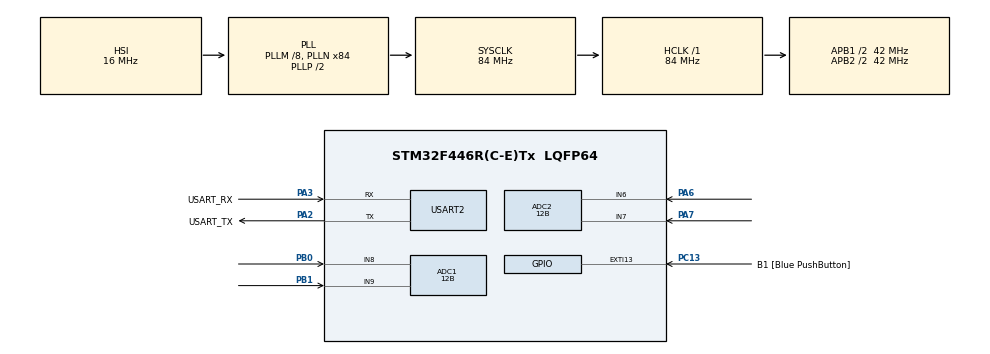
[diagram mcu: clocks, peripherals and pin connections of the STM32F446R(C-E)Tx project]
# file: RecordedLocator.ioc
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ADC1.Channel-2\#ChannelRegularConversion=ADC_CHANNEL_8
ADC1.Channel-3\#ChannelRegularConversion=ADC_CHANNEL_9
ADC1.ContinuousConvMode=ENABLE
ADC1.DMAContinuousRequests=ENABLE
ADC1.DiscontinuousConvMode=DISABLE
ADC1.EOCSelection=ADC_EOC_SINGLE_CONV
ADC1.EnableAnalogWatchDog=false
ADC1.Mode=ADC_DUALMODE_REGSIMULT
ADC1.NbrOfConversion=2
ADC1.NbrOfConversionFlag=1
ADC1.Rank-2\#ChannelRegularConversion=1
ADC1.Rank-3\#ChannelRegularConversion=2
ADC1.Resolution=ADC_RESOLUTION_12B
ADC1.SamplingTime-2\#ChannelRegularConversion=ADC_SAMPLETIME_56CYCLES
ADC1.SamplingTime-3\#ChannelRegularConversion=ADC_SAMPLETIME_56CYCLES
ADC1.ScanConvMode=ENABLE
ADC1.master=1
ADC2.Channel-0\#ChannelRegularConversion=ADC_CHANNEL_6
ADC2.Channel-1\#ChannelRegularConversion=ADC_CHANNEL_7
ADC2.ClockPrescaler=ADC_CLOCK_SYNC_PCLK_DIV2
ADC2.ContinuousConvMode=ENABLE
ADC2.DMAAccessMode=ADC_DMAACCESSMODE_2
ADC2.DiscontinuousConvMode=DISABLE
ADC2.Mode=ADC_DUALMODE_REGSIMULT
ADC2.NbrOfConversion=2
ADC2.NbrOfConversionFlag=1
ADC2.Rank-0\#ChannelRegularConversion=1
ADC2.Rank-1\#ChannelRegularConversion=2
ADC2.Resolution=ADC_RESOLUTION_12B
ADC2.SamplingTime-0\#ChannelRegularConversion=ADC_SAMPLETIME_56CYCLES
ADC2.SamplingTime-1\#ChannelRegularConversion=ADC_SAMPLETIME_56CYCLES
Dma.ADC1.0.Direction=DMA_PERIPH_TO_MEMORY
Dma.ADC1.0.FIFOMode=DMA_FIFOMODE_DISABLE
Dma.ADC1.0.Instance=DMA2_Stream0
Dma.ADC1.0.MemDataAlignment=DMA_MDATAALIGN_WORD
Dma.ADC1.0.MemInc=DMA_MINC_ENABLE
Dma.ADC1.0.Mode=DMA_CIRCULAR
Dma.ADC1.0.PeriphDataAlignment=DMA_PDATAALIGN_WORD
Dma.ADC1.0.PeriphInc=DMA_PINC_DISABLE
Dma.ADC1.0.Priority=DMA_PRIORITY_LOW
Dma.Request0=ADC1
Mcu.Family=STM32F4
Mcu.Name=STM32F446R(C-E)Tx
Mcu.Package=LQFP64
NVIC.DMA2_Stream0_IRQn=true\:0\:0\:false\:false\:true\:false\:true
NVIC.PriorityGroup=NVIC_PRIORITYGROUP_0
NVIC.USART2_IRQn=true\:0\:0\:false\:false\:true\:true\:true
PA13.GPIO_Label=TMS
PA13.Mode=Serial_Wire
PA13.Signal=SYS_JTMS-SWDIO
PA14.GPIO_Label=TCK
PA14.Mode=Serial_Wire
PA14.Signal=SYS_JTCK-SWCLK
PA2.GPIO_Label=USART_TX
PA2.Mode=Asynchronous
PA2.Signal=USART2_TX
PA3.GPIO_Label=USART_RX
PA3.Mode=Asynchronous
PA3.Signal=USART2_RX
PA5.Signal=COMP_DAC2_group
PA6.Signal=ADCx_IN6
PA7.Signal=ADCx_IN7
PB0.Signal=ADCx_IN8
PB1.Signal=ADCx_IN9
PB3.GPIO_Label=SWO
PB3.Signal=SYS_JTDO-SWO
PC13.GPIO_Label=B1 [Blue PushButton]
PC13.GPIO_ModeDefaultEXTI=GPIO_MODE_IT_FALLING
PC13.Signal=GPXTI13
PC14-OSC32_IN.Mode=LSE-External-Oscillator
PC14-OSC32_IN.Signal=RCC_OSC32_IN
PC15-OSC32_OUT.Mode=LSE-External-Oscillator
PC15-OSC32_OUT.Signal=RCC_OSC32_OUT
PH0-OSC_IN.Mode=HSE-External-Oscillator
PH0-OSC_IN.Signal=RCC_OSC_IN
PH1-OSC_OUT.Mode=HSE-External-Oscillator
PH1-OSC_OUT.Signal=RCC_OSC_OUT
ProjectManager.HeapSize=0x200
ProjectManager.StackSize=0x400
ProjectManager.TargetToolchain=STM32CubeIDE
RCC.48MHZClocksFreq_Value=84000000
RCC.AHBFreq_Value=84000000
RCC.APB1CLKDivider=RCC_HCLK_DIV2
RCC.APB1Freq_Value=42000000
RCC.APB1TimFreq_Value=84000000
RCC.APB2CLKDivider=RCC_HCLK_DIV2
RCC.APB2Freq_Value=42000000
RCC.APB2TimFreq_Value=84000000
RCC.CortexFreq_Value=84000000
RCC.FLatency-AdvancedSettings=FLASH_LATENCY_2
RCC.HCLKFreq_Value=84000000
RCC.HSE_VALUE=8000000
RCC.HSI_VALUE=16000000
RCC.PLLM=8
RCC.PLLN=84
RCC.SYSCLKFreq_VALUE=84000000
RCC.SYSCLKSource=RCC_SYSCLKSOURCE_PLLCLK
RCC.USBFreq_Value=84000000
RCC.VCOOutputFreq_Value=168000000
SH.ADCx_IN6.0=ADC2_IN6,IN6
SH.ADCx_IN7.0=ADC2_IN7,IN7
SH.ADCx_IN8.0=ADC1_IN8,IN8
SH.ADCx_IN9.0=ADC1_IN9,IN9
SH.COMP_DAC2_group.0=DAC_OUT2
USART2.VirtualMode=VM_ASYNC
board=NUCLEO-F446RE

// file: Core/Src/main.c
/* USER CODE BEGIN Header */
/**
  ******************************************************************************
  * @file           : main.c
  * @brief          : Main program body
  ******************************************************************************
  * @attention
  *
  * <h2><center>&copy; Copyright (c) 2021 STMicroelectronics.
  * All rights reserved.</center></h2>
  *
  * This software component is licensed by ST under BSD 3-Clause license,
  * the "License"; You may not use this file except in compliance with the
  * License. You may obtain a copy of the License at:
  *                        opensource.org/licenses/BSD-3-Clause
  *
  ******************************************************************************
  */
/* USER CODE END Header */
#include "main.h"

/* USER CODE BEGIN Includes */
#include <stdlib.h>
#include <math.h>
#include  <errno.h>
#include <string.h>
#include  <sys/unistd.h> // STDOUT_FILENO, STDERR_FILENO
#include "arm_math.h"
/* USER CODE END Includes */

/* USER CODE BEGIN PD */
#define SAMPLES 1024
#define DIFF_THRESHOLD 100
#define AVG_WINDOW 3

#define F_MIN 20
#define F_MAX 2000

#define START_RECORD 0
#define STOP_RECORD 1
#define CLEAR_RECORD 2
#define SET_FREQUENCY_RANGE 3
#define SET_LOCATION_MODE 4
#define START_LOCATING 5
#define STOP_LOCATING 6
#define SET_COORDNATES 7
#define DEBUG 8
#define RECORDING_FULL 9

#define MODE_RECORDING 0
#define MODE_FREQUENCY 1

#define SENSOR_DISTANCE 0.04
#define SPEED 343.0

#define ADC_SLOW 0
#define ADC_FAST 1

union int_float {
	uint16_t int_val;
	float32_t float_val;
};
/* USER CODE END PD */

ADC_HandleTypeDef hadc1;
ADC_HandleTypeDef hadc2;
DMA_HandleTypeDef hdma_adc1;

UART_HandleTypeDef huart2;

void SystemClock_Config(void);
static void MX_GPIO_Init(void);
static void MX_DMA_Init(void);
static void MX_USART2_UART_Init(void);
static void MX_ADC1_Init(void);
static void MX_ADC2_Init(void);
/* USER CODE BEGIN PFP */
static void to_float(uint16_t*, float32_t*, uint32_t);

//Overwrite recording data
void do_recording();

//Convert data to float
void convert_recording();

//Reverse recording
void reverse_recording();

//Correlate recording with recording
void autocorrelate_recording();

//1 if recording is present in given sample data
uint8_t recording_is_present(uint16_t* ADC_a);

//Perform FFT on ADC_a and ADC_b and return an angle if the dominant frequency of ADC_a is within low_thresh and high_thresh, NAN otherwise
float32_t do_fft(uint16_t* ADC_a, uint16_t* ADC_b, int low_thresh, int high_thresh);

//Convert time difference of arrival to angle value between -pi/2 to pi/2
float32_t tdoa_to_angle(float32_t tdoa, float32_t sensor_distance, float32_t speed);

//1 if the dominant frequency in ADC_a is within low_thresh and high_thresh
uint8_t frequency_is_present(uint16_t* ADC_a, uint32_t low_thresh, uint32_t high_thresh);

//Find the tdoa of the signal of ADC_a and ADC_b (cross correlation)
float32_t find_tdoa(uint16_t* ADC_a, uint16_t* ADC_b);

//Send angles to phone
void send_angles(int8_t angle_tb, int8_t angle_lr);

//Perfrom rolling average on given angle and past angle values
int8_t get_angle(int8_t, int8_t*, uint8_t*);

void set_adc_fast();
void set_adc_slow();

void do_samples(uint8_t);

/* USER CODE END PFP */

/* USER CODE BEGIN 0 */
uint16_t ADC_top[SAMPLES];
uint16_t ADC_bottom[SAMPLES];
uint16_t ADC_right[SAMPLES];
uint16_t ADC_left[SAMPLES];
uint16_t ADC_all[SAMPLES * 4];

float32_t a_float[SAMPLES * 2];
float32_t b_float[SAMPLES * 2];
float32_t a_mag[SAMPLES / 2];

float32_t a_phase[SAMPLES];
float32_t b_phase[SAMPLES];

int8_t tb_avg_buffer[AVG_WINDOW];
int8_t lr_avg_buffer[AVG_WINDOW];
uint8_t tb_avg_i = 0;
uint8_t lr_avg_i = 0;

uint16_t recording[SAMPLES];
float32_t recording_f[SAMPLES];
float32_t recording_autocorrelation[SAMPLES * 2];
float32_t recording_max_correlation;
arm_cfft_instance_f32 fft_instance;
arm_rfft_instance_f32 rfft_instance;

uint8_t startLocating = 0;
uint8_t start_recording = 0;
uint8_t location_mode = MODE_FREQUENCY;

uint16_t fL = F_MIN;
uint16_t fH = F_MAX;

uint8_t command[5];

uint8_t samples_done = 1;

float32_t sampling_frequency = 153284.0;

/* USER CODE END 0 */

int main(void)
{

  /* MCU Configuration--------------------------------------------------------*/

  /* Reset of all peripherals, Initializes the Flash interface and the Systick. */
  HAL_Init();

  /* USER CODE BEGIN Init */
  arm_cfft_init_f32(&fft_instance, SAMPLES);

  /* USER CODE END Init */

  /* Configure the system clock */
  SystemClock_Config();

  /* Initialize all configured peripherals */
  MX_GPIO_Init();
  MX_DMA_Init();
  MX_USART2_UART_Init();
  MX_ADC1_Init();
  MX_ADC2_Init();
  /* USER CODE BEGIN 2 */

  HAL_StatusTypeDef status = HAL_UART_Receive_IT(&huart2, command, 5);

  /* USER CODE END 2 */

  /* Infinite loop */
  /* USER CODE BEGIN WHILE */

  while (1)
  {

	  if(location_mode == MODE_RECORDING) {

		  if(start_recording) {
			  do_samples(ADC_SLOW);
			  start_recording = 0;

			  for(int i = 0; i < SAMPLES; i++) {
				  recording[i] = ADC_top[i];
			  }
			  uint8_t data[] = {RECORDING_FULL,0 ,0};
			  HAL_UART_Transmit(&huart2, data, 3, 100);
			  convert_recording();
			  autocorrelate_recording();
		  }
		  if(startLocating) {
			  do_samples(ADC_SLOW);
			  if(recording_is_present(ADC_top)) {
				  do_samples(ADC_FAST);
				  float32_t diff_tb = find_tdoa(ADC_top, ADC_bottom);
				  float32_t diff_lr = find_tdoa(ADC_left, ADC_right);

				  int8_t angle_tb = (int8_t) (tdoa_to_angle(diff_tb, SENSOR_DISTANCE, SPEED) * (180.0/M_PI));
				  int8_t angle_lr = (int8_t) (tdoa_to_angle(diff_lr, SENSOR_DISTANCE, SPEED) * (180.0/M_PI));

				  send_angles(get_angle(angle_lr, lr_avg_buffer, &lr_avg_i), get_angle(angle_tb, tb_avg_buffer, &tb_avg_i));

			  } else {
				  send_angles(get_angle(0, lr_avg_buffer, &lr_avg_i), get_angle(0, tb_avg_buffer, &tb_avg_i));
			  }

		  }
	  }
	  if(location_mode == MODE_FREQUENCY) {
		  if(startLocating) {
			  do_samples(ADC_SLOW);

			  if(frequency_is_present(ADC_right, fL, fH)) {
				  do_samples(ADC_FAST);
				  float32_t diff_tb = find_tdoa(ADC_top, ADC_bottom);
				  float32_t diff_lr = find_tdoa(ADC_left, ADC_right);

				  int8_t angle_tb = (int8_t) (tdoa_to_angle(diff_tb, SENSOR_DISTANCE, SPEED) * (180.0/M_PI));
				  int8_t angle_lr = (int8_t) (tdoa_to_angle(diff_lr, SENSOR_DISTANCE, SPEED) * (180.0/M_PI));

				  send_angles(angle_lr, angle_tb);
			  }
			  else {
				  send_angles(0, 0);
			  }
		  }
	  }

    /* USER CODE END WHILE */

  }
}

void SystemClock_Config(void)
{
  RCC_OscInitTypeDef RCC_OscInitStruct = {0};
  RCC_ClkInitTypeDef RCC_ClkInitStruct = {0};

  /** Configure the main internal regulator output voltage
  */
  __HAL_RCC_PWR_CLK_ENABLE();
  __HAL_PWR_VOLTAGESCALING_CONFIG(PWR_REGULATOR_VOLTAGE_SCALE3);
  /** Initializes the RCC Oscillators according to the specified parameters
  * in the RCC_OscInitTypeDef structure.
  */
  RCC_OscInitStruct.OscillatorType = RCC_OSCILLATORTYPE_HSI;
  RCC_OscInitStruct.HSIState = RCC_HSI_ON;
  RCC_OscInitStruct.HSICalibrationValue = RCC_HSICALIBRATION_DEFAULT;
  RCC_OscInitStruct.PLL.PLLState = RCC_PLL_ON;
  RCC_OscInitStruct.PLL.PLLSource = RCC_PLLSOURCE_HSI;
  RCC_OscInitStruct.PLL.PLLM = 8;
  RCC_OscInitStruct.PLL.PLLN = 84;
  RCC_OscInitStruct.PLL.PLLP = RCC_PLLP_DIV2;
  RCC_OscInitStruct.PLL.PLLQ = 2;
  RCC_OscInitStruct.PLL.PLLR = 2;
  if (HAL_RCC_OscConfig(&RCC_OscInitStruct) != HAL_OK)
  {
    Error_Handler();
  }
  /** Initializes the CPU, AHB and APB buses clocks
  */
  RCC_ClkInitStruct.ClockType = RCC_CLOCKTYPE_HCLK|RCC_CLOCKTYPE_SYSCLK
                              |RCC_CLOCKTYPE_PCLK1|RCC_CLOCKTYPE_PCLK2;
  RCC_ClkInitStruct.SYSCLKSource = RCC_SYSCLKSOURCE_PLLCLK;
  RCC_ClkInitStruct.AHBCLKDivider = RCC_SYSCLK_DIV1;
  RCC_ClkInitStruct.APB1CLKDivider = RCC_HCLK_DIV2;
  RCC_ClkInitStruct.APB2CLKDivider = RCC_HCLK_DIV2;

  if (HAL_RCC_ClockConfig(&RCC_ClkInitStruct, FLASH_LATENCY_2) != HAL_OK)
  {
    Error_Handler();
  }
}

static void MX_ADC1_Init(void)
{

  ADC_MultiModeTypeDef multimode = {0};
  ADC_ChannelConfTypeDef sConfig = {0};

  /** Configure the global features of the ADC (Clock, Resolution, Data Alignment and number of conversion)
  */
  hadc1.Instance = ADC1;
  hadc1.Init.ClockPrescaler = ADC_CLOCK_SYNC_PCLK_DIV2;
  hadc1.Init.Resolution = ADC_RESOLUTION_12B;
  hadc1.Init.ScanConvMode = ENABLE;
  hadc1.Init.ContinuousConvMode = ENABLE;
  hadc1.Init.DiscontinuousConvMode = DISABLE;
  hadc1.Init.ExternalTrigConvEdge = ADC_EXTERNALTRIGCONVEDGE_NONE;
  hadc1.Init.ExternalTrigConv = ADC_SOFTWARE_START;
  hadc1.Init.DataAlign = ADC_DATAALIGN_RIGHT;
  hadc1.Init.NbrOfConversion = 2;
  hadc1.Init.DMAContinuousRequests = ENABLE;
  hadc1.Init.EOCSelection = ADC_EOC_SINGLE_CONV;
  if (HAL_ADC_Init(&hadc1) != HAL_OK)
  {
    Error_Handler();
  }
  /** Configure the ADC multi-mode
  */
  multimode.Mode = ADC_DUALMODE_REGSIMULT;
  multimode.DMAAccessMode = ADC_DMAACCESSMODE_2;
  multimode.TwoSamplingDelay = ADC_TWOSAMPLINGDELAY_5CYCLES;
  if (HAL_ADCEx_MultiModeConfigChannel(&hadc1, &multimode) != HAL_OK)
  {
    Error_Handler();
  }
  /** Configure for the selected ADC regular channel its corresponding rank in the sequencer and its sample time.
  */
  sConfig.Channel = ADC_CHANNEL_8;
  sConfig.Rank = 1;
  sConfig.SamplingTime = ADC_SAMPLETIME_56CYCLES;
  if (HAL_ADC_ConfigChannel(&hadc1, &sConfig) != HAL_OK)
  {
    Error_Handler();
  }
  /** Configure for the selected ADC regular channel its corresponding rank in the sequencer and its sample time.
  */
  sConfig.Channel = ADC_CHANNEL_9;
  sConfig.Rank = 2;
  if (HAL_ADC_ConfigChannel(&hadc1, &sConfig) != HAL_OK)
  {
    Error_Handler();
  }

}

static void MX_ADC2_Init(void)
{

  ADC_ChannelConfTypeDef sConfig = {0};

  /** Configure the global features of the ADC (Clock, Resolution, Data Alignment and number of conversion)
  */
  hadc2.Instance = ADC2;
  hadc2.Init.ClockPrescaler = ADC_CLOCK_SYNC_PCLK_DIV2;
  hadc2.Init.Resolution = ADC_RESOLUTION_12B;
  hadc2.Init.ScanConvMode = ENABLE;
  hadc2.Init.ContinuousConvMode = ENABLE;
  hadc2.Init.DiscontinuousConvMode = DISABLE;
  hadc2.Init.DataAlign = ADC_DATAALIGN_RIGHT;
  hadc2.Init.NbrOfConversion = 2;
  hadc2.Init.DMAContinuousRequests = DISABLE;
  hadc2.Init.EOCSelection = ADC_EOC_SINGLE_CONV;
  if (HAL_ADC_Init(&hadc2) != HAL_OK)
  {
    Error_Handler();
  }
  /** Configure for the selected ADC regular channel its corresponding rank in the sequencer and its sample time.
  */
  sConfig.Channel = ADC_CHANNEL_6;
  sConfig.Rank = 1;
  sConfig.SamplingTime = ADC_SAMPLETIME_56CYCLES;
  if (HAL_ADC_ConfigChannel(&hadc2, &sConfig) != HAL_OK)
  {
    Error_Handler();
  }
  /** Configure for the selected ADC regular channel its corresponding rank in the sequencer and its sample time.
  */
  sConfig.Channel = ADC_CHANNEL_7;
  sConfig.Rank = 2;
  if (HAL_ADC_ConfigChannel(&hadc2, &sConfig) != HAL_OK)
  {
    Error_Handler();
  }

}

static void MX_USART2_UART_Init(void)
{

  huart2.Instance = USART2;
  huart2.Init.BaudRate = 115200;
  huart2.Init.WordLength = UART_WORDLENGTH_8B;
  huart2.Init.StopBits = UART_STOPBITS_1;
  huart2.Init.Parity = UART_PARITY_NONE;
  huart2.Init.Mode = UART_MODE_TX_RX;
  huart2.Init.HwFlowCtl = UART_HWCONTROL_NONE;
  huart2.Init.OverSampling = UART_OVERSAMPLING_16;
  if (HAL_UART_Init(&huart2) != HAL_OK)
  {
    Error_Handler();
  }

}

static void MX_DMA_Init(void)
{

  /* DMA controller clock enable */
  __HAL_RCC_DMA2_CLK_ENABLE();

  /* DMA interrupt init */
  /* DMA2_Stream0_IRQn interrupt configuration */
  HAL_NVIC_SetPriority(DMA2_Stream0_IRQn, 0, 0);
  HAL_NVIC_EnableIRQ(DMA2_Stream0_IRQn);

}

static void MX_GPIO_Init(void)
{
  GPIO_InitTypeDef GPIO_InitStruct = {0};

  /* GPIO Ports Clock Enable */
  __HAL_RCC_GPIOC_CLK_ENABLE();
  __HAL_RCC_GPIOH_CLK_ENABLE();
  __HAL_RCC_GPIOA_CLK_ENABLE();
  __HAL_RCC_GPIOB_CLK_ENABLE();

  /*Configure GPIO pin : B1_Pin */
  GPIO_InitStruct.Pin = B1_Pin;
  GPIO_InitStruct.Mode = GPIO_MODE_IT_FALLING;
  GPIO_InitStruct.Pull = GPIO_NOPULL;
  HAL_GPIO_Init(B1_GPIO_Port, &GPIO_InitStruct);

  /*Configure GPIO pin : PA5 */
  GPIO_InitStruct.Pin = GPIO_PIN_5;
  GPIO_InitStruct.Mode = GPIO_MODE_ANALOG;
  GPIO_InitStruct.Pull = GPIO_NOPULL;
  HAL_GPIO_Init(GPIOA, &GPIO_InitStruct);

}

/* USER CODE BEGIN 4 */
int _write(int file, char *data, int len)
{
   if ((file != STDOUT_FILENO) && (file != STDERR_FILENO))
   {
      errno = EBADF;
      return -1;
   }

   // arbitrary timeout 1000
   HAL_StatusTypeDef status =
      HAL_UART_Transmit(&huart2, (uint8_t*)data, len, 1000);

   // return # of bytes written - as best we can tell
   return (status == HAL_OK ? len : 0);
}

void set_adc_fast() {
	RCC_ClkInitTypeDef RCC_ClkInitStruct = {0};
    RCC_ClkInitStruct.ClockType = RCC_CLOCKTYPE_HCLK|RCC_CLOCKTYPE_SYSCLK
								  |RCC_CLOCKTYPE_PCLK1|RCC_CLOCKTYPE_PCLK2;
	RCC_ClkInitStruct.SYSCLKSource = RCC_SYSCLKSOURCE_PLLCLK;
	RCC_ClkInitStruct.AHBCLKDivider = RCC_SYSCLK_DIV1;
	RCC_ClkInitStruct.APB1CLKDivider = RCC_HCLK_DIV2;
	RCC_ClkInitStruct.APB2CLKDivider = RCC_HCLK_DIV2;

	if (HAL_RCC_ClockConfig(&RCC_ClkInitStruct, FLASH_LATENCY_2) != HAL_OK)
    {
		Error_Handler();
	}
	sampling_frequency = 153284.0;

	HAL_Delay(10);
}

void set_adc_slow() {

	RCC_ClkInitTypeDef RCC_ClkInitStruct = {0};
    RCC_ClkInitStruct.ClockType = RCC_CLOCKTYPE_HCLK|RCC_CLOCKTYPE_SYSCLK
								  |RCC_CLOCKTYPE_PCLK1|RCC_CLOCKTYPE_PCLK2;
	RCC_ClkInitStruct.SYSCLKSource = RCC_SYSCLKSOURCE_PLLCLK;
	RCC_ClkInitStruct.AHBCLKDivider = RCC_SYSCLK_DIV1;
	RCC_ClkInitStruct.APB1CLKDivider = RCC_HCLK_DIV2;
	RCC_ClkInitStruct.APB2CLKDivider = RCC_HCLK_DIV8;

	if (HAL_RCC_ClockConfig(&RCC_ClkInitStruct, FLASH_LATENCY_2) != HAL_OK)
    {
		Error_Handler();
	}
	sampling_frequency = 39220.0;

	HAL_Delay(10);

}

void do_samples(uint8_t mode) {
	while(!samples_done) {}

	if(mode == ADC_SLOW) {
		set_adc_slow();
	}
	else if(mode == ADC_FAST) {
		set_adc_fast();
	}

	samples_done = 0;

	HAL_ADC_Start(&hadc2);
	HAL_ADCEx_MultiModeStart_DMA(&hadc1, ADC_all, SAMPLES * 4);

	while(!samples_done) {}
}

float32_t tdoa_to_angle(float32_t tdoa, float32_t sensor_distance, float32_t speed) {
	float32_t a = (speed * tdoa) / sensor_distance;
	float32_t angle = asin(a);
	return angle;
}

int8_t get_angle(int8_t angle, int8_t* angle_avg, uint8_t* avg_i) {
	angle_avg[*avg_i] = angle;
	*avg_i = (*avg_i) + 1;
	if(*avg_i > AVG_WINDOW) {
		*avg_i = 0;
	}

	int16_t sum = 0;

	for(int i = 0; i < AVG_WINDOW; i++) {
		sum += angle_avg[i];
	}

	return sum / AVG_WINDOW;
}

void do_recording() {

	do_samples(ADC_SLOW);

}

void convert_recording() {

	to_float(recording, recording_f, SAMPLES);
}

void reverse_recording() {
	int i = 0; int j = SAMPLES - 1;
	for(; i < j; ++i, --j) {
		recording[i] = recording[j];
	}

}

void autocorrelate_recording() {
	arm_correlate_f32((const float32_t*) recording_f, SAMPLES, (const float32_t*) recording_f, SAMPLES, recording_autocorrelation);
	static uint32_t max_index;
	arm_max_f32(recording_autocorrelation, SAMPLES, &recording_max_correlation, &max_index);
}

uint8_t recording_is_present(uint16_t* ADC_a) {
	static float32_t recording_samples_correlation[SAMPLES * 2];
	static float32_t a_float[SAMPLES];

	memset(recording_samples_correlation, 0, SAMPLES * 2 * sizeof(float32_t));
	memset(a_float, 0, SAMPLES * sizeof(float32_t));

	to_float(ADC_a, a_float, SAMPLES);

	arm_correlate_f32(a_float, SAMPLES, (float32_t*) recording_f, SAMPLES, recording_samples_correlation);

	float32_t max_corr;
	arm_max_no_idx_f32(recording_samples_correlation, SAMPLES * 2, &max_corr);

	float32_t corr_diff = fabs(recording_max_correlation - max_corr);

	if(corr_diff < DIFF_THRESHOLD) {
		return 1;
	}

	return 0;
//	static float32_t b_mag[SAMPLES / 2];
//	static float32_t ab_diff[SAMPLES / 2];
//	memset(a_float, 0, SAMPLES * 2 * sizeof(float32_t));
//	memset(b_float, 0, SAMPLES * 2 * sizeof(float32_t));
//	memset(b_mag, 0, (SAMPLES / 2) * sizeof(float32_t));
//	memset(a_mag, 0, (SAMPLES / 2) * sizeof(float32_t));
//	memset(ab_diff, 0, (SAMPLES / 2) * sizeof(float32_t));
//
//	memcpy(b_float, recording_f, SAMPLES * sizeof(float32_t));
//
//	to_float(ADC_a, a_float, SAMPLES);
//
//	float32_t a_mag_max;
//	arm_cfft_init_f32(&fft_instance, SAMPLES);
//	arm_cfft_f32(&fft_instance, a_float, 0, 1);
//	arm_cmplx_mag_f32(a_float, a_mag, SAMPLES / 2);
//	arm_max_no_idx_f32(a_mag, SAMPLES / 2 , &a_mag_max);
//
//	float32_t b_mag_max;
//	arm_cfft_f32(&fft_instance, b_float, 0, 1);
//	arm_cmplx_mag_f32(b_float, b_mag, SAMPLES / 2);
//	arm_max_no_idx_f32(b_mag, SAMPLES / 2, &b_mag_max);
//
//
////	arm_scale_f32(a_mag, 1/a_mag_max, a_mag, SAMPLES / 2);
////	arm_scale_f32(b_mag, 1/b_mag_max, b_mag, SAMPLES / 2);
//
//	arm_sub_f32(a_mag, b_mag, ab_diff, SAMPLES / 2);
//
//	float32_t ab_diff_avg;
//	arm_mean_f32(ab_diff, SAMPLES / 2, &ab_diff_avg);
//
//	if(fabs(ab_diff_avg) < DIFF_THRESHOLD) {
//		return 1;
//	}
//
//	return 0;

}

//void top_3(float32_t arr, float32_t* top_1, float32_t* top_2, float32_t* top_3, uint32_t size) {
//	*top_1 = 0;
//	*top_2 = 0;
//	*top_3 = 0;
//	for(int i = 0; i < size; i++) {
//		if(arr[i] > (*top_1)) {
//			*top_1 = arr[i];
//		}
//		else if(arr[i] > (*top_2)) {
//			*top_2 = arr[i];
//		}
//		else if(arr[i] > (*top_3)) {
//			*top_3 = arr[i];
//		}
//	}
//}

uint8_t frequency_is_present(uint16_t* ADC_a, uint32_t low_thresh, uint32_t high_thresh) {
	memset(a_float, 0, SAMPLES * 2 * sizeof(float32_t));
	memset(a_mag, 0, SAMPLES / 2  * sizeof(float32_t));
	to_float(ADC_a, a_float, SAMPLES);

	arm_cfft_init_f32(&fft_instance, SAMPLES);
	arm_cfft_f32(&fft_instance, a_float, 0, 1);
	arm_cmplx_mag_f32(a_float, a_mag, SAMPLES / 2);

	float32_t max;
	uint32_t index;
	arm_max_f32(a_mag, SAMPLES / 2, &max, &index);

	int frequency = (index * sampling_frequency) / SAMPLES / 2;
	return frequency >= low_thresh && frequency <= high_thresh;

}

float32_t find_tdoa(uint16_t* ADC_a, uint16_t* ADC_b) {
	static float32_t samples_correlation[SAMPLES * 2];
	memset(a_float, 0, SAMPLES * 2 * sizeof(float32_t));
	memset(b_float, 0, SAMPLES * 2 * sizeof(float32_t));
	memset(samples_correlation, 0, SAMPLES * sizeof(float32_t));

	to_float(ADC_a, a_float, SAMPLES);
	to_float(ADC_b, b_float, SAMPLES);

	arm_correlate_f32(a_float, SAMPLES, b_float, SAMPLES, samples_correlation);

	static uint32_t max_correlation_i;
	static float32_t max_correlation;

	arm_max_f32(samples_correlation, SAMPLES * 2, &max_correlation, &max_correlation_i);

	return (((float32_t)max_correlation_i) - (SAMPLES))/sampling_frequency;

}

void send_angles(int8_t angle_tb, int8_t angle_lr) {
	int8_t data[] = {SET_COORDNATES, angle_tb, angle_lr};
    HAL_UART_Transmit(&huart2, data, 3, 1000);
	//printf("%d, %d\n\r", angle_tb, angle_lr);
}

float32_t do_fft(uint16_t* ADC_a, uint16_t* ADC_b, int low_thresh, int high_thresh) {

	memset(a_float, 0, SAMPLES * 2 * sizeof(float32_t));
	memset(b_float, 0, SAMPLES * 2 * sizeof(float32_t));
	memset(a_mag, 0, SAMPLES / 2  * sizeof(float32_t));
	memset(a_phase, 0, SAMPLES * sizeof(float32_t));
	memset(b_phase, 0, SAMPLES * sizeof(float32_t));
	to_float(ADC_a, a_float, SAMPLES);
	to_float(ADC_b, b_float, SAMPLES);

	arm_cfft_init_f32(&fft_instance, SAMPLES);
	arm_cfft_f32(&fft_instance, a_float, 0, 1);
	arm_cmplx_mag_f32(a_float, a_mag, SAMPLES / 2);
	a_mag[0] = 0;

	//calculate phase for each bin
	for(int i = 0; i < SAMPLES * 2; i+=2) {
		a_phase[i/2] = atan2(a_float[i + 1], a_float[i]);
	}

	arm_cfft_init_f32(&fft_instance, SAMPLES);
	arm_cfft_f32(&fft_instance, b_float, 0, 1);

	//calculate phase for each bin
	for(int i = 0; i < SAMPLES * 2; i+=2) {
		b_phase[i/2] = atan2(b_float[i + 1],  b_float[i]);
	}

	float32_t max;
	uint32_t index;
	arm_max_f32(a_mag, SAMPLES / 2, &max, &index);

	int frequency = (index * sampling_frequency) / SAMPLES / 2;
	if(frequency >= low_thresh && frequency <= high_thresh) {
		float32_t a_phase_max = a_phase[index];
		float32_t b_phase_max = b_phase[index];
		float32_t a = ((SPEED/frequency)/(2 * M_PI * SENSOR_DISTANCE)) * (a_phase_max - b_phase_max);
		float32_t tb_t_diff = acos(a);//((a_phase_max - b_phase_max) * SAMPLES)/(2 * M_PI);
		return tb_t_diff;
	}
	return NAN;

}

void to_float(uint16_t* int_array, float32_t* float_array, uint32_t length) {

	float32_t max = 0.0;
	float32_t min = 10000.0; //ADC values will never go above 1024 anyway
	for(int i = 0; i < length; i++) {
		float_array[i] = ((float32_t)int_array[i]);
		if(fabs(float_array[i]) > max) {
			max = fabs(float_array[i]);
		}
		if(fabs(float_array[i]) < min) {
			min = fabs(float_array[i]);
		}
	}
	for(int i = 0; i < length; i++) {
		float_array[i] = (float_array[i] - min) * (2) /(max - min) - 1;
	}

}

void HAL_ADC_ConvCpltCallback(ADC_HandleTypeDef* hadc) {

  HAL_ADC_Stop(&hadc2);
  HAL_ADCEx_MultiModeStop_DMA(&hadc1);

	for(int i = 0; i < SAMPLES * 4; i += 4) {
		ADC_top[i/4] = ADC_all[i];
		ADC_left[i/4] = ADC_all[i+1];
		ADC_right[i/4] = ADC_all[i+2];
		ADC_bottom[i/4] = ADC_all[i+3];
	}
	samples_done = 1;
}

void HAL_ADC_ConvHalfCpltCallback(ADC_HandleTypeDef* hadc) {
int i = 0;
}
void HAL_UART_RxCpltCallback(UART_HandleTypeDef *huart) {
	  if(command[0] == SET_FREQUENCY_RANGE) {
		  fL = ((uint16_t)(command[1] << 8)) | command[2];
		  fH = ((uint16_t)(command[3] << 8)) | command[4];
	  }
	  if(command[0] == START_LOCATING) {
		  startLocating = 1;
	  }
	  if(command[0] == STOP_LOCATING) {
		  startLocating = 0;
	  }

	  if(command[0] == START_RECORD) {
		  start_recording = 1;
	  }
	  if(command[0] == STOP_RECORD) {
		  start_recording = 0;
	  }
	  if(command[0] == SET_LOCATION_MODE) {
		  location_mode = command[1];
	  }
	  HAL_UART_Receive_IT(&huart2, command, 5);

}
/* USER CODE END 4 */

void Error_Handler(void)
{
  __disable_irq();
  while (1)
  {
  }
}

/************************ (C) COPYRIGHT STMicroelectronics *****END OF FILE****/
